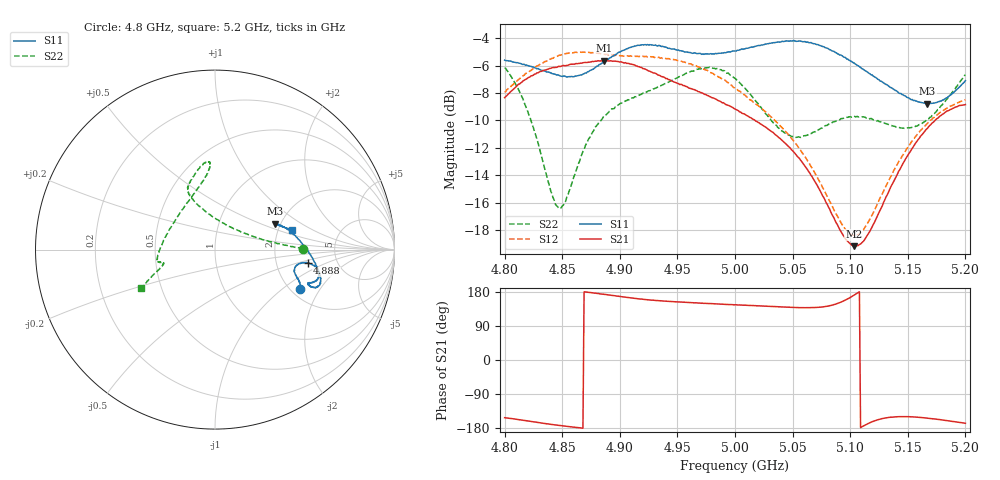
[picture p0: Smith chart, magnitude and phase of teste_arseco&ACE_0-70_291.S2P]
! Network Analyzer HP8722D
! Hewlett-Packard
! Data name: Linha & Wilkinson
! Saver's name: Rodrigo Anjos
! Comments: Teste da utilização de aquisição
! continua pelo VNA HP8722D
! Time and date: 8/5/2025 15:11
!  Frequency  S11  S21  S12  S22
# HZ  S  MA R 50
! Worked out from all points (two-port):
!   401 points, 4.8 GHz to 5.2 GHz, reference 50 ohm
!   highest |S21| = -5.64 dB at 4.886 GHz (marker M1); lowest = -19.2 dB at 5.103 GHz (marker M2)
!   |S21| within 3 dB of the highest: start of sweep to 4.988 GHz
!   lowest |S11| = -8.8 dB at 5.167 GHz (marker M3), VSWR 2.14, Z = 93.5 + j30.9 ohm
!   |S11| at or under -10 dB: nowhere
!   |S22| runs from -16.4 to -6.1 dB; largest |S21 - S12| = 1.1
!   S11 on the Smith chart (normalised r, x): 4.8 GHz: 2.24, -1.36; 4.888 GHz: 3.03, -0.63; 5.2 GHz: 2.36, +0.65
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4.8e9  0.5241 -25.0  0.3826 -152.2  0.4001 7.2  0.4917 0.5
4.818e9  0.5019 -21.0  0.4455 -160.0  0.4679 4.5  0.3585 5.2
4.84e9  0.4713 -17.6  0.4894 -169.7  0.5292 0.9  0.1749 34.2
4.846e9  0.4632 -16.3  0.4951 -172.0  0.5425 -0.1  0.1532 55.2
4.853e9  0.4566 -14.5  0.5005 -174.6  0.5542 -1.2  0.1604 81.1
4.867e9  0.4629 -10.8  0.511 -179.6  0.5598 -3.3  0.2376 107.0
4.886e9  0.5178 -8.0  0.5223 173.6  0.5508 -4.2  0.3273 114.9
4.888e9  0.5211 -8.4  0.5214 172.5  0.5504 -4.3  0.3308 115.0
4.911e9  0.5867 -11.5  0.5057 163.4  0.5423 -3.6  0.382 113.2
4.934e9  0.5933 -16.8  0.462 156.4  0.5372 -4.1  0.4188 107.3
4.976e9  0.5528 -20.0  0.3895 149.2  0.4812 -7.8  0.4916 95.0
5e9  0.5665 -20.9  0.3479 145.7  0.4157 -7.4  0.4505 94.3
5.042e9  0.6128 -19.0  0.265 139.9  0.2942 0.3  0.2874 129.7
5.067e9  0.6042 -14.1  0.1968 138.3  0.2116 8.4  0.2845 165.3
5.093e9  0.5439 -4.7  0.1223 154.1  0.1317 33.3  0.3208 -173.8
5.103e9  0.5131 -0.1  0.1099 170.5  0.1206 52.3  0.3275 -169.9
5.114e9  0.4778 5.4  0.1189 -170.0  0.131 73.8  0.3222 -167.8
5.134e9  0.4195 15.5  0.1761 -151.3  0.1926 94.1  0.3047 -166.3
5.152e9  0.378 22.0  0.2432 -149.8  0.2589 98.8  0.2969 -164.8
5.167e9  0.3635 23.3  0.2954 -153.4  0.3085 99.3  0.3183 -161.5
5.183e9  0.3806 20.7  0.3394 -159.6  0.3487 99.1  0.3735 -157.6
5.2e9  0.4412 14.6  0.3609 -166.9  0.3762 99.8  0.4642 -152.2
